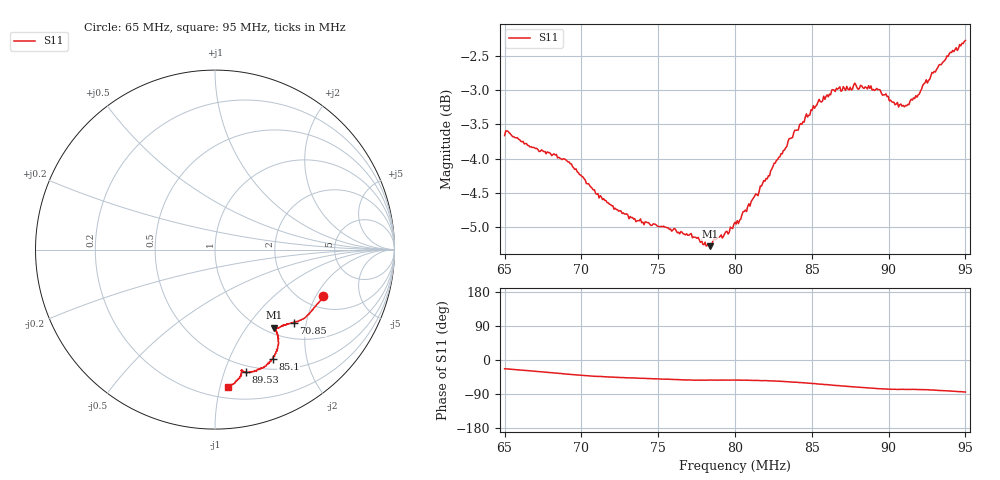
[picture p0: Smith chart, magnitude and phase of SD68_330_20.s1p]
! NanoVNA-App
! Date: 2025-08-09 13:09:46
! Start: 65MHz Stop: 95MHz Points: 401
! S-Parameter data: F S11
# Hz S RI R 50
!  Frequency  S11_Real  S11_Imag
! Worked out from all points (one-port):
!   401 points, 65 MHz to 95 MHz, reference 50 ohm
!   lowest |S11| = -5.3 dB at 78.35 MHz (marker M1), VSWR 3.39, Z = 54.7 - j67.8 ohm
!   |S11| at or under -10 dB: nowhere
!   S11 on the Smith chart (normalised r, x): 65 MHz: 2.52, -2.30; 70.85 MHz: 1.33, -1.69; 85.1 MHz: 0.63, -1.46; 89.53 MHz: 0.44, -1.18; 95 MHz: 0.28, -1.06
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6.5e7  0.6023 -0.2599
6.5225e7  0.6046 -0.2663
6.7775e7  0.5392 -0.3414
6.875e7  0.5087 -0.3716
6.995e7  0.4675 -0.3978
7.085e7  0.438 -0.4083
7.25e7  0.4008 -0.4165
7.625e7  0.3447 -0.4375
7.7225e7  0.3313 -0.4419
7.79e7  0.3273 -0.4374
7.835e7  0.327 -0.4355
8e7  0.3413 -0.4527
8.0825e7  0.3469 -0.4673
8.21e7  0.3522 -0.4979
8.285e7  0.3542 -0.5239
8.375e7  0.3423 -0.5573
8.51e7  0.3209 -0.6106
8.645e7  0.2799 -0.6505
8.75e7  0.2422 -0.669
8.78e7  0.2311 -0.6783
8.87e7  0.1999 -0.6849
8.9525e7  0.1714 -0.6835
9.035e7  0.1529 -0.6768
9.125e7  0.1486 -0.6752
9.17e7  0.151 -0.6816
9.2825e7  0.1366 -0.7165
9.395e7  0.108 -0.7449
9.5e7  0.0731 -0.7664
